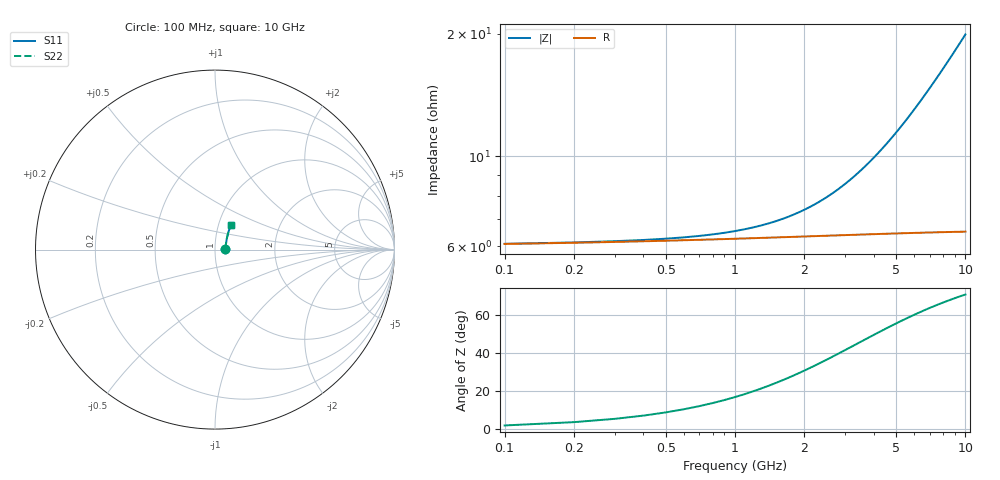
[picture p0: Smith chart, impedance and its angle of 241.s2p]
# Hz S RI R 50.00
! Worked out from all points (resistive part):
!   100 points, 100 MHz to 10 GHz, reference 50 ohm
!   read as one part in series: R = 6.08 ohm at 100 MHz
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1e8  0.0573 0.00145  0.9427 -0.00191  0.9427 -0.00191  0.0573 0.00145
2e8  0.0577 0.00289  0.9423 -0.00381  0.9423 -0.00381  0.0577 0.00289
7e8  0.0588 0.0101  0.9412 -0.0133  0.9412 -0.0133  0.0588 0.0101
1e9  0.0592 0.0144  0.9407 -0.019  0.9407 -0.019  0.0592 0.0144
1.2e9  0.0595 0.0173  0.9404 -0.0228  0.9404 -0.0228  0.0595 0.0173
1.4e9  0.0599 0.0201  0.9401 -0.0266  0.9401 -0.0266  0.0599 0.0201
1.8e9  0.0605 0.0259  0.9395 -0.0342  0.9395 -0.0342  0.0605 0.0259
2.1e9  0.061 0.0301  0.9389 -0.0398  0.9389 -0.0398  0.061 0.0301
2.5e9  0.0617 0.0358  0.9382 -0.0474  0.9382 -0.0474  0.0617 0.0358
2.9e9  0.0625 0.0415  0.9374 -0.0549  0.9374 -0.0549  0.0625 0.0415
3.4e9  0.0636 0.0486  0.9362 -0.0643  0.9362 -0.0643  0.0636 0.0486
4.4e9  0.0662 0.0627  0.9336 -0.083  0.9336 -0.083  0.0662 0.0627
5.1e9  0.0682 0.0725  0.9314 -0.096  0.9314 -0.096  0.0682 0.0725
5.9e9  0.0709 0.0835  0.9287 -0.1108  0.9287 -0.1108  0.0709 0.0835
6.3e9  0.0724 0.089  0.9271 -0.1182  0.9271 -0.1182  0.0724 0.089
6.7e9  0.0739 0.0945  0.9255 -0.1255  0.9255 -0.1255  0.0739 0.0945
7.1e9  0.0756 0.1  0.9238 -0.1328  0.9238 -0.1328  0.0756 0.1
7.5e9  0.0773 0.1054  0.9221 -0.14  0.9221 -0.14  0.0773 0.1054
7.9e9  0.0791 0.1107  0.9202 -0.1473  0.9202 -0.1473  0.0791 0.1107
8.4e9  0.0814 0.1174  0.9178 -0.1562  0.9178 -0.1562  0.0814 0.1174
9.2e9  0.0855 0.1279  0.9136 -0.1705  0.9136 -0.1705  0.0855 0.1279
1e10  0.0898 0.1383  0.9091 -0.1846  0.9091 -0.1846  0.0898 0.1383
